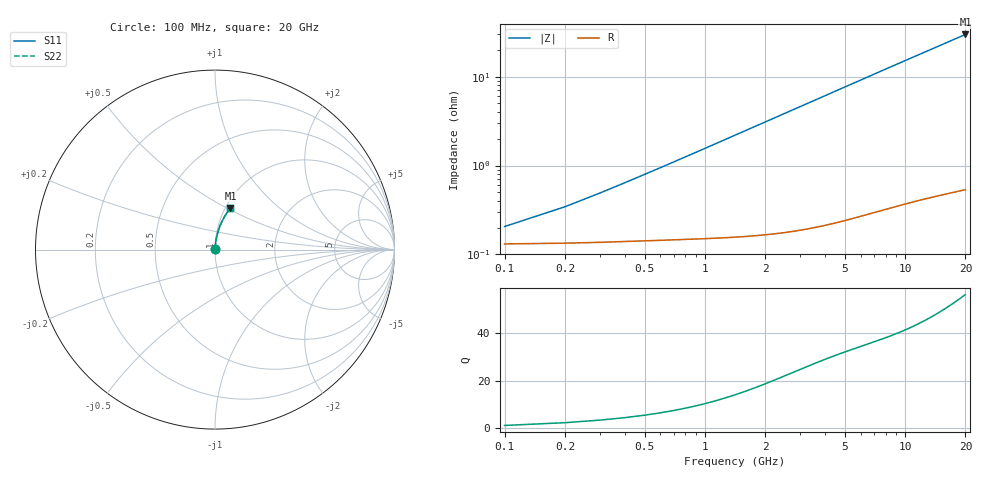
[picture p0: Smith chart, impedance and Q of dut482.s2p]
! Touchstone file exported from HFSS 2026.1.0
!  File:  C:/ffzhzh/LocalFiles/Ansys_Project_Files/temp_train_TMRDL_482_1783006423_53980.aedt
!  Generated:  11:35:04 PM Jul  2, 2026
!  Design:  TMRDL
!  Project:  temp_train_TMRDL_482_1783006423_53980
! Variables:
!  h_bsmrdl = 2um
!  h_ox = 20um
!  h_rdl = 5um
!  h_sub = 80um
!  h_tmrdl = 4.35um
!  h_tsv = 80um
!  h_via = 3um
!  l_bsmrdl = 300um
!  l_sub = 592.23um
!  l_tmrdl = 192.23um
!  m_sub = 200um
!  pitch = 57.37um
!  r_tsv = 6um
!  s_tmrdl = 10um
!  w_bsmrdl = 18um
!  w_sub = 500um
!  w_tmrdl = 13.25um
!  x_tsv_center1 = 198.855um
!  x_tsv_center2 = 516.855um
!  x_tsv_center3 = 722.335um
!  x_tsv_center4 = 1040.335um
!  x_tsv_center5 = 1245.815um
!  x_tsv_center6 = 1563.815um
# GHz S MA R 50.000000
! Terminal data exported
! Port[1] = TM_RDL1_1_T1
! Port[2] = TM_RDL1_1_T2
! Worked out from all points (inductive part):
!   200 points, 100 MHz to 20 GHz, reference 50 ohm
!   read as one part in series: L = 249 pH near 300 MHz
!   highest Q = 56 at 20 GHz (marker M1), where L = 238 pH
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0.1  0.001892 46.2  0.9987 -0.1  0.9987 -0.1  0.001892 46.2
! Gamma 0 0 0 0
! Port Impedance 50 0 50 0
0.2  0.003033 63.7  0.9987 -0.2  0.9987 -0.2  0.003033 63.7
0.3  0.004287 71.1  0.9986 -0.3  0.9986 -0.3  0.004287 71.1
0.4  0.005571 75.1  0.9986 -0.4  0.9986 -0.4  0.005571 75.1
0.5  0.006866 77.6  0.9986 -0.5  0.9986 -0.5  0.006866 77.6
0.7  0.009474 80.5  0.9985 -0.7  0.9985 -0.7  0.009474 80.5
0.8  0.01078 81.4  0.9985 -0.8  0.9985 -0.8  0.01078 81.4
1  0.01341 82.6  0.9984 -1.0  0.9984 -1.0  0.01341 82.6
1.2  0.01604 83.4  0.9983 -1.2  0.9983 -1.2  0.01604 83.4
1.4  0.01867 83.8  0.9983 -1.4  0.9983 -1.4  0.01867 83.8
1.7  0.02262 84.2  0.9981 -1.7  0.9981 -1.7  0.02262 84.2
2  0.02657 84.4  0.998 -2.0  0.998 -2.0  0.02657 84.4
2.7  0.03577 84.4  0.9976 -2.7  0.9976 -2.7  0.03577 84.4
3.5  0.04623 84.0  0.9969 -3.5  0.9969 -3.5  0.04623 84.0
4.2  0.05533 83.5  0.9963 -4.2  0.9963 -4.2  0.05533 83.5
5  0.06566 82.9  0.9955 -5.0  0.9955 -5.0  0.06566 82.9
6.8  0.08868 81.4  0.9932 -6.8  0.9932 -6.8  0.08868 81.4
8.3  0.1076 80.0  0.9909 -8.2  0.9909 -8.2  0.1076 80.0
10.1  0.13 78.4  0.9879 -10.0  0.9879 -10.0  0.13 78.4
13.4  0.1703 75.4  0.9811 -13.1  0.9811 -13.1  0.1703 75.4
16.7  0.2093 72.5  0.9731 -16.2  0.9731 -16.2  0.2093 72.5
20  0.2471 69.5  0.9639 -19.3  0.9639 -19.3  0.2471 69.5
